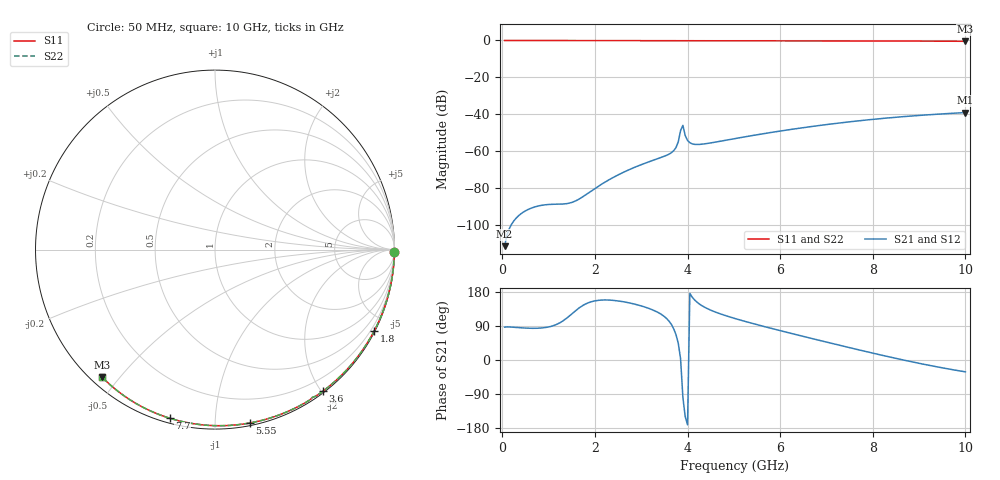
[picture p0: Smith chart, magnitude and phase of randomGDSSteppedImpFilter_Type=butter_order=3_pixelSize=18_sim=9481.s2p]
! freq	dB(S11)	phase(S11)	dB(S12)	phase(S12)
!  dB(S21)	phase(S21)	dB(S22)	phase(S22)
!S-par simulation data
#  GHz  S  DB  R 50
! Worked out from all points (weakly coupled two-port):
!   200 points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, 50 MHz to 10 GHz, reference 50 ohm
!   highest |S21| = -39.16 dB at 10 GHz (marker M1); lowest = -111.7 dB at 50 MHz (marker M2)
!   lowest |S11| = -0.5 dB at 10 GHz (marker M3), VSWR 38.11, Z = 1.58 - j22.5 ohm
!   |S11| at or under -10 dB: nowhere
!   |S22| runs from -0.5 to 0.0 dB; largest |S21 - S12| = 0
!   S11 on the Smith chart (normalised r, x): 50 MHz: open; 1.8 GHz: 0.04, -4.17; 3.6 GHz: 0.02, -2.02; 5.55 GHz: 0.02, -1.22; 7.7 GHz: 0.02, -0.77; 10 GHz: 0.03, -0.45
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0.05  -0.00 -0.8  -111.73 86.7  -111.73 86.7  -0.00 -0.8
1.75  -0.03 -26.2  -84.71 144.7  -84.71 144.7  -0.03 -26.2
1.8  -0.03 -26.9  -83.86 147.9  -83.86 147.9  -0.03 -26.9
2.05  -0.04 -30.6  -79.59 157.0  -79.59 157.0  -0.04 -30.6
2.65  -0.05 -39.3  -71.20 152.9  -71.20 152.9  -0.05 -39.3
3.4  -0.07 -49.9  -63.82 123.0  -63.82 123.0  -0.07 -49.9
3.6  -0.07 -52.7  -61.75 102.5  -61.75 102.5  -0.07 -52.7
3.7  -0.07 -54.1  -59.90 82.7  -59.90 82.7  -0.07 -54.1
3.75  -0.08 -54.8  -58.23 67.3  -58.23 67.3  -0.08 -54.8
3.8  -0.08 -55.6  -55.07 44.3  -55.07 44.3  -0.08 -55.6
3.85  -0.11 -56.3  -48.93 2.8  -48.93 2.8  -0.11 -56.3
3.9  -0.12 -56.7  -46.11 -98.8  -46.11 -98.8  -0.12 -56.7
3.95  -0.09 -57.4  -51.67 -149.6  -51.67 -149.6  -0.09 -57.4
4  -0.09 -58.1  -54.32 -171.0  -54.32 -171.0  -0.09 -58.1
4.1  -0.09 -59.5  -56.18 166.0  -56.18 166.0  -0.09 -59.5
4.35  -0.09 -62.9  -56.23 140.5  -56.23 140.5  -0.09 -62.9
5.05  -0.11 -72.2  -53.18 108.6  -53.18 108.6  -0.11 -72.2
5.55  -0.13 -78.7  -51.01 91.7  -51.01 91.7  -0.13 -78.7
6.7  -0.18 -93.1  -46.67 56.2  -46.67 56.2  -0.18 -93.1
7.7  -0.24 -105.1  -43.63 26.7  -43.63 26.7  -0.24 -105.1
8.35  -0.29 -112.7  -42.03 8.3  -42.03 8.3  -0.29 -112.7
10  -0.46 -131.5  -39.16 -31.2  -39.16 -31.2  -0.46 -131.6
